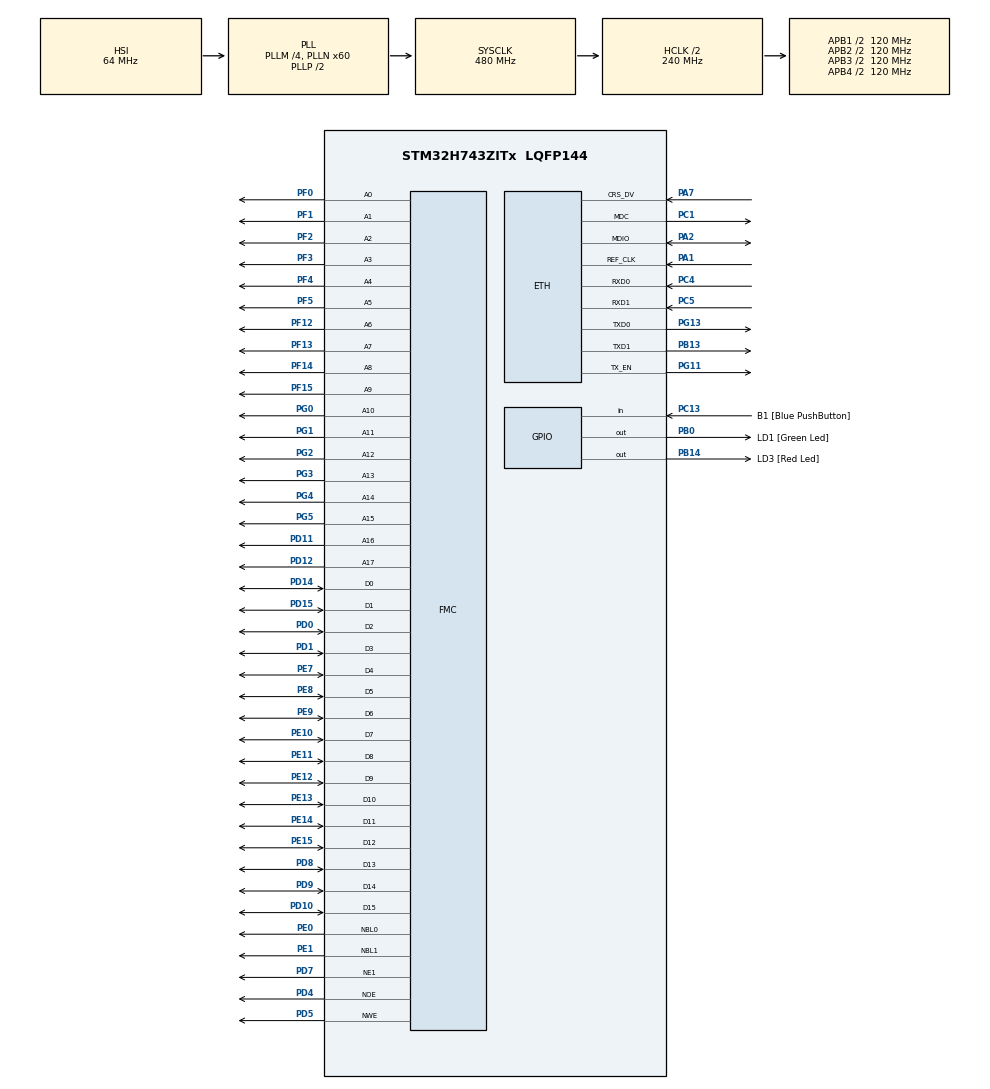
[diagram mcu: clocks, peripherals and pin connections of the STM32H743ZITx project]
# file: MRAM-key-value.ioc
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CORTEX_M7.CPU_DCache=Enabled
CORTEX_M7.CPU_ICache=Enabled
CORTEX_M7.Enable-Cortex_Memory_Protection_Unit_Region0_Settings=MPU_REGION_ENABLE
CORTEX_M7.Enable-Cortex_Memory_Protection_Unit_Region1_Settings=__NULL
CORTEX_M7.MPU_Control=__NULL
CORTEX_M7.Size-Cortex_Memory_Protection_Unit_Region0_Settings=MPU_REGION_SIZE_512KB
CRC.DefaultInitValueUse=DEFAULT_INIT_VALUE_DISABLE
CRC.DefaultPolynomialUse=DEFAULT_POLYNOMIAL_DISABLE
CRC.GeneratingPolynomial=X28+X27+X26+X25+X23+X22+X20+X19+X18+X14+X13+X11+X10+X9+X8+X6+X0
CRC.InitValue=0xffffffff
CRC.InputDataFormat=CRC_INPUTDATA_FORMAT_WORDS
CRC.InputDataInversionMode=CRC_INPUTDATA_INVERSION_NONE
CRC.OutputDataInversionMode=CRC_OUTPUTDATA_INVERSION_DISABLE
ETH.MediaInterface=HAL_ETH_RMII_MODE
FMC.AddressSetupTime1=1
FMC.BankMapConfig=FMC_SWAPBMAP_SDRAM_SRAM
FMC.BusTurnAroundDuration1=4
FMC.DataSetupTime1=10
FMC.ExtendedAddressSetupTime1=1
FMC.ExtendedBusTurnAroundDuration1=4
FMC.ExtendedDataSetupTime1=10
FMC.ExtendedMode1=FMC_EXTENDED_MODE_ENABLE
FMC.WriteFifo1=FMC_WRITE_FIFO_DISABLE
FMC.WriteFifo2=FMC_WRITE_FIFO_DISABLE
FMC.WriteFifo3=FMC_WRITE_FIFO_DISABLE
FMC.WriteFifo4=FMC_WRITE_FIFO_DISABLE
FMC.WriteOperation1=FMC_WRITE_OPERATION_ENABLE
Mcu.Family=STM32H7
Mcu.Name=STM32H743ZITx
Mcu.Package=LQFP144
Mcu.UserConstants=baseAddress,0xc0000000
NVIC.PriorityGroup=NVIC_PRIORITYGROUP_4
PA1.Mode=RMII
PA1.Signal=ETH_REF_CLK
PA13\ (JTMS/SWDIO).Mode=Trace_Asynchronous_SW
PA13\ (JTMS/SWDIO).Signal=DEBUG_JTMS-SWDIO
PA14\ (JTCK/SWCLK).Mode=Trace_Asynchronous_SW
PA14\ (JTCK/SWCLK).Signal=DEBUG_JTCK-SWCLK
PA2.Mode=RMII
PA2.Signal=ETH_MDIO
PA7.Mode=RMII
PA7.Signal=ETH_CRS_DV
PB0.GPIO_Label=LD1 [Green Led]
PB0.Signal=GPIO_Output
PB13.Mode=RMII
PB13.Signal=ETH_TXD1
PB14.GPIO_Label=LD3 [Red Led]
PB14.Signal=GPIO_Output
PB3\ (JTDO/TRACESWO).Mode=Trace_Asynchronous_SW
PB3\ (JTDO/TRACESWO).Signal=DEBUG_JTDO-SWO
PC1.Mode=RMII
PC1.Signal=ETH_MDC
PC13.GPIO_Label=B1 [Blue PushButton]
PC13.Signal=GPIO_Input
PC14-OSC32_IN\ (OSC32_IN).Mode=LSE-External-Oscillator
PC14-OSC32_IN\ (OSC32_IN).Signal=RCC_OSC32_IN
PC15-OSC32_OUT\ (OSC32_OUT).Mode=LSE-External-Oscillator
PC15-OSC32_OUT\ (OSC32_OUT).Signal=RCC_OSC32_OUT
PC4.Mode=RMII
PC4.Signal=ETH_RXD0
PC5.Mode=RMII
PC5.Signal=ETH_RXD1
PD0.Signal=FMC_D2_DA2
PD1.Signal=FMC_D3_DA3
PD10.Signal=FMC_D15_DA15
PD11.Signal=FMC_A16_CLE
PD12.Signal=FMC_A17_ALE
PD14.Signal=FMC_D0_DA0
PD15.Signal=FMC_D1_DA1
PD4.GPIO_PuPd=GPIO_PULLUP
PD4.Signal=FMC_NOE
PD5.GPIO_PuPd=GPIO_PULLUP
PD5.Signal=FMC_NWE
PD7.GPIO_PuPd=GPIO_PULLUP
PD7.Mode=NorPsramChipSelect1_1
PD7.Signal=FMC_NE1
PD8.Signal=FMC_D13_DA13
PD9.Signal=FMC_D14_DA14
PE0.Signal=FMC_NBL0
PE1.Signal=FMC_NBL1
PE10.Signal=FMC_D7_DA7
PE11.Signal=FMC_D8_DA8
PE12.Signal=FMC_D9_DA9
PE13.Signal=FMC_D10_DA10
PE14.Signal=FMC_D11_DA11
PE15.Signal=FMC_D12_DA12
PE7.Signal=FMC_D4_DA4
PE8.Signal=FMC_D5_DA5
PE9.Signal=FMC_D6_DA6
PF0.Signal=FMC_A0
PF1.Signal=FMC_A1
PF12.Signal=FMC_A6
PF13.Signal=FMC_A7
PF14.Signal=FMC_A8
PF15.Signal=FMC_A9
PF2.Signal=FMC_A2
PF3.Signal=FMC_A3
PF4.Signal=FMC_A4
PF5.Signal=FMC_A5
PG0.Signal=FMC_A10
PG1.Signal=FMC_A11
PG11.Mode=RMII
PG11.Signal=ETH_TX_EN
PG13.Mode=RMII
PG13.Signal=ETH_TXD0
PG2.Signal=FMC_A12
PG3.Signal=FMC_A13
PG4.Signal=FMC_A14_BA0
PG5.Signal=FMC_A15_BA1
PH0-OSC_IN\ (PH0).Mode=HSE-External-Clock-Source
PH0-OSC_IN\ (PH0).Signal=RCC_OSC_IN
PH1-OSC_OUT\ (PH1).Signal=RCC_OSC_OUT
ProjectManager.HeapSize=0x200
ProjectManager.StackSize=0x400
ProjectManager.TargetToolchain=STM32CubeIDE
RCC.ADCFreq_Value=129000000
RCC.APB1Freq_Value=120000000
RCC.APB2Freq_Value=120000000
RCC.APB3Freq_Value=120000000
RCC.APB4Freq_Value=120000000
RCC.CortexFreq_Value=480000000
RCC.D1PPRE=RCC_APB3_DIV2
RCC.D2PPRE1=RCC_APB1_DIV2
RCC.D2PPRE2=RCC_APB2_DIV2
RCC.D3PPRE=RCC_APB4_DIV2
RCC.DATA_CACHE_ENABLE=1
RCC.DIVM1=4
RCC.DIVN1=60
RCC.DIVQ1=4
RCC.HCLKFreq_Value=240000000
RCC.HPRE=RCC_HCLK_DIV2
RCC.HSE_VALUE=8000000
RCC.INSTRUCTION_CACHE_ENABLE=1
RCC.PLL2FRACN=0
RCC.PLL3FRACN=0
RCC.PLLFRACN=0
RCC.PREFETCH_ENABLE=1
RCC.PWREXT_OverDrive=PWREXT_OverDrive_DESACTIVATED
RCC.PWR_Regulator_Voltage_Scale=PWR_REGULATOR_VOLTAGE_SCALE0
RCC.SYSCLKFreq_VALUE=480000000
RCC.SYSCLKSource=RCC_SYSCLKSOURCE_PLLCLK
RCC.USBFreq_Value=240000000
SH.FMC_A0.0=FMC_A0,18b-a1
SH.FMC_A1.0=FMC_A1,18b-a1
SH.FMC_A10.0=FMC_A10,18b-a1
SH.FMC_A11.0=FMC_A11,18b-a1
SH.FMC_A12.0=FMC_A12,18b-a1
SH.FMC_A13.0=FMC_A13,18b-a1
SH.FMC_A14_BA0.0=FMC_A14,18b-a1
SH.FMC_A15_BA1.0=FMC_A15,18b-a1
SH.FMC_A16_CLE.0=FMC_A16,18b-a1
SH.FMC_A17_ALE.0=FMC_A17,18b-a1
SH.FMC_A2.0=FMC_A2,18b-a1
SH.FMC_A3.0=FMC_A3,18b-a1
SH.FMC_A4.0=FMC_A4,18b-a1
SH.FMC_A5.0=FMC_A5,18b-a1
SH.FMC_A6.0=FMC_A6,18b-a1
SH.FMC_A7.0=FMC_A7,18b-a1
SH.FMC_A8.0=FMC_A8,18b-a1
SH.FMC_A9.0=FMC_A9,18b-a1
SH.FMC_D0_DA0.0=FMC_D0,16b-d1
SH.FMC_D10_DA10.0=FMC_D10,16b-d1
SH.FMC_D11_DA11.0=FMC_D11,16b-d1
SH.FMC_D12_DA12.0=FMC_D12,16b-d1
SH.FMC_D13_DA13.0=FMC_D13,16b-d1
SH.FMC_D14_DA14.0=FMC_D14,16b-d1
SH.FMC_D15_DA15.0=FMC_D15,16b-d1
SH.FMC_D1_DA1.0=FMC_D1,16b-d1
SH.FMC_D2_DA2.0=FMC_D2,16b-d1
SH.FMC_D3_DA3.0=FMC_D3,16b-d1
SH.FMC_D4_DA4.0=FMC_D4,16b-d1
SH.FMC_D5_DA5.0=FMC_D5,16b-d1
SH.FMC_D6_DA6.0=FMC_D6,16b-d1
SH.FMC_D7_DA7.0=FMC_D7,16b-d1
SH.FMC_D8_DA8.0=FMC_D8,16b-d1
SH.FMC_D9_DA9.0=FMC_D9,16b-d1
SH.FMC_NBL0.0=FMC_NBL0,2ByteEnable1
SH.FMC_NBL1.0=FMC_NBL1,2ByteEnable1
SH.FMC_NOE.0=FMC_NOE,Sram1
SH.FMC_NWE.0=FMC_NWE,Sram1
VP_CRC_VS_CRC.Mode=CRC_Activate
board=NUCLEO-H743ZI2

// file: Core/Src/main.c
/* USER CODE BEGIN Header */
/**
  ******************************************************************************
  * @file           : main.c
  * @brief          : Main program body
  ******************************************************************************
  * @attention
  *
  * Copyright (c) 2022 STMicroelectronics.
  * All rights reserved.
  *
  * This software is licensed under terms that can be found in the LICENSE file
  * in the root directory of this software component.
  * If no LICENSE file comes with this software, it is provided AS-IS.
  *
  ******************************************************************************
  */
/* USER CODE END Header */
#include "main.h"
#include "string.h"

/* USER CODE BEGIN Includes */
#include "stm32h7xx_hal.h"
#include "stm32h743xx.h"
#include "stdio.h"
#include <math.h>
#include <MRAM_memory_consistency.h>
#include <stdlib.h>
#include <time.h>
#include "mram_commons.h"
#include "MRAM_driver.h"
#include "FLASH_SECTOR_H7.h"
#include "test_flash.h"
#include "test_embbeded_SRAM.h"
#include "test_MRAM.h"
#include "clht_lb.h"
#include "test_hashmap_numbers.h"
#include "benchmark_lpht.h"
#include "MRAM_driver.h"
#include "benchmark_clht.h"
#include "settings.h"
#include <malloc.h>
#include KEYS_FILE

/* USER CODE END Includes */

#if defined ( __ICCARM__ ) /*!< IAR Compiler */
#pragma location=0x30000000
ETH_DMADescTypeDef  DMARxDscrTab[ETH_RX_DESC_CNT]; /* Ethernet Rx DMA Descriptors */
#pragma location=0x30000200
ETH_DMADescTypeDef  DMATxDscrTab[ETH_TX_DESC_CNT]; /* Ethernet Tx DMA Descriptors */

#elif defined ( __CC_ARM )  /* MDK ARM Compiler */

__attribute__((at(0x30000000))) ETH_DMADescTypeDef  DMARxDscrTab[ETH_RX_DESC_CNT]; /* Ethernet Rx DMA Descriptors */
__attribute__((at(0x30000200))) ETH_DMADescTypeDef  DMATxDscrTab[ETH_TX_DESC_CNT]; /* Ethernet Tx DMA Descriptors */

#elif defined ( __GNUC__ ) /* GNU Compiler */
ETH_DMADescTypeDef DMARxDscrTab[ETH_RX_DESC_CNT] __attribute__((section(".RxDecripSection"))); /* Ethernet Rx DMA Descriptors */
ETH_DMADescTypeDef DMATxDscrTab[ETH_TX_DESC_CNT] __attribute__((section(".TxDecripSection")));   /* Ethernet Tx DMA Descriptors */

#endif

ETH_TxPacketConfig TxConfig;

CRC_HandleTypeDef hcrc;

ETH_HandleTypeDef heth;

SRAM_HandleTypeDef hsram1;

void SystemClock_Config(void);
static void MX_GPIO_Init(void);
static void MX_ETH_Init(void);
static void MX_FMC_Init(void);
static void MX_CRC_Init(void);

/* USER CODE BEGIN 0 */

typedef enum writeBitSize{
	BITS_8 = 8,
	BITS_16 = 16,
	BITS_32 = 32,
	BITS_64 = 64

} WriteBitSize;

int __io_putchar(int ch)
{
	ITM_SendChar(ch);
	return(ch);
}

int _write(int file, char *ptr, int len)
{
	int DataIdx;
	for (DataIdx = 0; DataIdx < len; DataIdx++)
	{
		__io_putchar(*ptr++);
	}
	return len;
}

void MPU_RegionConfig()
{
	MPU_Region_InitTypeDef MPU_InitStruct = {0};

	HAL_MPU_Disable();

	MPU_InitStruct.Enable = MPU_REGION_ENABLE;
	MPU_InitStruct.BaseAddress = MRAM_BANK_ADDR;
	MPU_InitStruct.Size = MPU_REGION_SIZE_4MB;
	MPU_InitStruct.AccessPermission = MPU_REGION_FULL_ACCESS;
	MPU_InitStruct.IsBufferable = MPU_ACCESS_NOT_BUFFERABLE;
	MPU_InitStruct.IsCacheable = MPU_ACCESS_CACHEABLE;
	MPU_InitStruct.IsShareable = MPU_ACCESS_SHAREABLE;
	MPU_InitStruct.Number = MPU_REGION_NUMBER0;
	MPU_InitStruct.TypeExtField = MPU_TEX_LEVEL0;
	MPU_InitStruct.SubRegionDisable = 0x00;
	MPU_InitStruct.DisableExec = MPU_INSTRUCTION_ACCESS_DISABLE;
	HAL_MPU_ConfigRegion(&MPU_InitStruct);
	HAL_MPU_Enable(MPU_PRIVILEGED_DEFAULT);
}

void test_flash(){
	uint32_t total_write_size[12] = {8192U, 131072U};//, 64, 128, 256, 416, 256U, 512U, 1024U, 2048U, 4096U,}; //In bits
		int nrAvgIterations = 50;
		long double avg_throughput = 0;
		WriteBitSize writeChunkSize = BITS_32; //In bits, 8, 16, 32, or 64

		for(int i = 0; i < 2; i++){
			if(total_write_size[i] >= writeChunkSize){
				//avg_throughput = test_write_throughput_MRAM(writeChunkSize, total_write_size[i], nrAvgIterations);
				avg_throughput = test_flash_write_throughput(writeChunkSize, total_write_size[i], nrAvgIterations);
				printf("Avg Flash throughput for writing %ld bits in %d-bit chunk sizes, averaged over %d iterations: %.3Lf KB/s\n",total_write_size[i],writeChunkSize, nrAvgIterations, avg_throughput);
				puts("");
			}
	}
}

void test_MRAM_throughput( uint8_t read, uint8_t write){
	uint32_t operation_size[6] = {2U,4U,8U,512U,4096U,32768U};//, 64, 128, 256, 416, 256U, 512U, 1024U, 2048U, 4096U,}; //In bits
	int nrAvgIterations;
	long double avg_throughput = 0;
	WriteBitSize chunkSize = BITS_16; //In bits, 8, 16, 32, or 64. Always tries to use biggest possible
	uint32_t totalBytes = 536870912; ///500MiB per test

	for(int i = 0; i < 6; i++){

		if(operation_size[i] < 2U){
			chunkSize = BITS_8;
		} else if(operation_size[i] < 4U){
			chunkSize = BITS_16;
		} else if(operation_size[i] < 8U){
			chunkSize = BITS_32;
		}

		nrAvgIterations = totalBytes / operation_size[i]; //Division surplus is ignored, may write slightly less than 500MiB. Average throughput calculation is not affected.
		if(write){
			avg_throughput = test_write_throughput_MRAM(chunkSize, operation_size[i], nrAvgIterations, 0);
			//avg_throughput = test_flash_write_throughput(writeChunkSize, total_write_size[i], nrAvgIterations);
			printf("Access type: Sequential; Write operation size: %ld; Bytes written: %ld; Avg throughput: %.3Lf KB/s\n", operation_size[i], nrAvgIterations * operation_size[i], avg_throughput);
			puts("");

			avg_throughput = test_write_throughput_MRAM(chunkSize, operation_size[i], nrAvgIterations, 1);
			//avg_throughput = test_flash_write_throughput(writeChunkSize, total_write_size[i], nrAvgIterations);
			printf("Access type: Random; Write operation size: %ld; Bytes written: %ld; Avg throughput: %.3Lf KB/s\n", operation_size[i], nrAvgIterations * operation_size[i], avg_throughput);
			puts("");
		}

		if (read){
			avg_throughput = test_read_throughput_MRAM(chunkSize, operation_size[i], nrAvgIterations, 0);
			//avg_throughput = test_flash_write_throughput(writeChunkSize, total_write_size[i], nrAvgIterations);
			printf("Access type: Sequential; Read operation size: %ld; Bytes read: %ld; Avg throughput: %.3Lf KB/s\n", operation_size[i], nrAvgIterations * operation_size[i], avg_throughput);
			puts("");

			avg_throughput = test_read_throughput_MRAM(chunkSize, operation_size[i], nrAvgIterations, 1);
			//avg_throughput = test_flash_write_throughput(writeChunkSize, total_write_size[i], nrAvgIterations);
			printf("Access type: Random; Read operation size: %ld; Bytes read: %ld; Avg throughput: %.3Lf KB/s\n", operation_size[i], nrAvgIterations * operation_size[i], avg_throughput);
			puts("");
		}

	}
}

void test_MRAM_reads(){
	uint32_t total_read_size[12] = {512U};//, 64, 128, 256, 416, 256U, 512U, 1024U, 2048U, 4096U,}; //In bits
	int nrAvgIterations = 10000000;
	long double avg_throughput = 0;
	WriteBitSize readChunkSize = BITS_64; //In bits, 8, 16, 32, or 64
	uint8_t type = 0; //0 = sequential access; 1 = random access;

	for(int i = 0; i < 1; i++){
		if(total_read_size[i] >= readChunkSize){
			avg_throughput = test_read_throughput_MRAM(readChunkSize, total_read_size[i], nrAvgIterations, type);
			printf("Avg Flash throughput for reading %ld bits in %d-bit chunk sizes, averaged over %d iterations: %.3Lf KB/s\n",total_read_size[i],readChunkSize, nrAvgIterations, avg_throughput);
			puts("");
		}
	}
}

void test_MRAM_memcpy(){
	uint32_t numBytesToWrite = MRAM_NR_BYTES - 16;
	uint32_t block_size[] = {2,4,8,512, 4096, 32768};
	int numIterations = 5;

	for(int i = 0; i < 6; i++){
		test_write_throughput_MRAM_memcpy_string(block_size[i], numBytesToWrite, numIterations);
	}
}

void test_memories_throughput(){

	//test_MRAM_memcpy();
	test_MRAM_throughput(1,1);

	//printf("Avg SRAM throughput for 64 bits: %.3lf B/s\n",avg_throughput[3]);
	//printf("Avg SRAM throughput for 128 bits: %.3lf B/s\n",avg_throughput[4]);
	//printf("Avg SRAM throughput for 256 bits: %.3lf B/s\n",avg_throughput[5]);
	//printf("Avg SRAM throughput for 416 bits: %.3lf B/s\n",avg_throughput[6]);
	//printf("Avg SRAM throughput for 1024 bits: %.3lf B/s\n",avg_throughput[7]);
	//printf("Avg SRAM throughput for 2048 bits: %.3lf B/s\n",avg_throughput[8]);

}

void test_clht(){
	uint32_t startTime = 0, elapsedTime = 0;
	uint8_t test[] = {49,50,51,52};
	uint32_t uwCRCValue = HAL_CRC_Calculate(&hcrc,(uint32_t *) test, 4);
	printf("CRC32 value: %lu\n", uwCRCValue);

	uint64_t key = 10;
	uint64_t value = 20, get_value = 5;

	clht_t *hash =  clht_create(10);
	clht_put(hash, (clht_addr_t) key, (clht_val_t) value);
	//value = 1337;
	startTime = HAL_GetTick();
	for(int i = 0; i < 1000000; i++){
		clht_put(hash, (clht_addr_t) key, (clht_val_t) value);
	}
	elapsedTime = HAL_GetTick() - startTime;
	get_value = clht_get(hash->ht, (clht_addr_t) key);
	printf("Value obtained from hashtable: %llu\n", get_value);
	printf("Elapsed time: %lu ms\n", elapsedTime);
}

void _malloc_occupy_32byte(uint8_t * memoryMap, uint32_t startAddress, uint32_t refAddress){
	uint32_t index = (startAddress - refAddress) / 32;
	uint8_t aligned = !((startAddress - refAddress) % 32);

	if((memoryMap[index] == '-') && aligned){
		memoryMap[index] = '*'; // '*' character
	} else if ((memoryMap[index] == '-') &&  !aligned){
		memoryMap[index] = '/'; // '/' bucket targets this address, but unaligned, should not happen
	} else {
		memoryMap[index] = 'X';// 'X' -> Targeted by more than one bucket, should not happen
	}

}

void print_malloc_map(){
	uint8_t memoryMap[100];

	void * pointerArray[100];

	for(int i = 0; i < 100; i++){
		pointerArray[i] = memalign(32, 32);
	}

	for(int i = 0; i < 100; i++){
		memoryMap[i] = '-';
	}

	for(int i = 0; i < 100; i++){
		printf("%lx\n", (uint32_t)pointerArray[i]);
		_malloc_occupy_32byte(memoryMap, (uint32_t) pointerArray[i], (uint32_t)pointerArray[0]);
	}

	for(int i = 0; i < 100; i++){
		printf("%c", memoryMap[i]);
		if((i != 0) && (i % 100 == 0)){
			printf("\n");
			HAL_Delay(500);
		}

	}
	printf("\n");

}

/* USER CODE END 0 */

int main(void)
{
  /* USER CODE BEGIN 1 */
	//From errata sheet, to avoid read inconsistencies from AXI SRAM

  //Note: May not be needed.
  MPU_RegionConfig();
  /* USER CODE END 1 */

  /* Enable I-Cache---------------------------------------------------------*/
  SCB_EnableICache();

  /* Enable D-Cache---------------------------------------------------------*/
  SCB_EnableDCache();

  /* MCU Configuration--------------------------------------------------------*/

  /* Reset of all peripherals, Initializes the Flash interface and the Systick. */
  HAL_Init();

  /* USER CODE BEGIN Init */

  //addr = SRAM_BANK_ADDR + 2;
  /* USER CODE END Init */

  /* Configure the system clock */
  SystemClock_Config();

  /* Initialize all configured peripherals */
  MX_GPIO_Init();
  MX_ETH_Init();
  MX_FMC_Init();
  MX_CRC_Init();

  /* Infinite loop */
  /* USER CODE BEGIN WHILE */

  //======
  // MPU binary: XN = 1
  //	  	  	 AP = 011
  //			 TEX = 000 C = 0 B = 0 Shareable = 1
  //			 SRD = 0
  //  	  	  	 SIZE =

  //Fix from errata sheet
  uint32_t address = GPV_BASE + 0x8108;
  address = address | 0x01;

  HAL_Delay(1000);
  //int randSeeds[5] = {129879, 98019823, 1239889, 12980, 928308};

  srand(237);
  while (1)
  {

    /* USER CODE END WHILE */

    /* USER CODE BEGIN 3 */
	printf("Program starting... \n");
	printf("Keys pointer: %p\n", keys);
	printf("First string pointer: %p\n", keys[0]);
    printf("First string: %s\n", keys[0]);
	//printf("Wiping MRAM\n");

	//mram_wipe();
	HAL_Delay(1000);
	//NVIC_SystemReset();
	//test_memory_consistency(16);
	//test_memory_consistency_random(32);
	//test_memories_throughput();

	//key_value_store_test_string();
	 //Iterate over seed list

	//print_malloc_map();
	//benchmark_clht_throughput();
	//test_clht();
	benchmark_lpht_throughput();

	HAL_Delay(30*1000);
	NVIC_SystemReset();
  }

  /* USER CODE END 3 */
}

void SystemClock_Config(void)
{
  RCC_OscInitTypeDef RCC_OscInitStruct = {0};
  RCC_ClkInitTypeDef RCC_ClkInitStruct = {0};

  /** Supply configuration update enable
  */
  HAL_PWREx_ConfigSupply(PWR_LDO_SUPPLY);

  /** Configure the main internal regulator output voltage
  */
  __HAL_PWR_VOLTAGESCALING_CONFIG(PWR_REGULATOR_VOLTAGE_SCALE1);

  while(!__HAL_PWR_GET_FLAG(PWR_FLAG_VOSRDY)) {}

  __HAL_RCC_SYSCFG_CLK_ENABLE();
  __HAL_PWR_VOLTAGESCALING_CONFIG(PWR_REGULATOR_VOLTAGE_SCALE0);

  while(!__HAL_PWR_GET_FLAG(PWR_FLAG_VOSRDY)) {}

  /** Initializes the RCC Oscillators according to the specified parameters
  * in the RCC_OscInitTypeDef structure.
  */
  RCC_OscInitStruct.OscillatorType = RCC_OSCILLATORTYPE_HSI;
  RCC_OscInitStruct.HSIState = RCC_HSI_DIV1;
  RCC_OscInitStruct.HSICalibrationValue = RCC_HSICALIBRATION_DEFAULT;
  RCC_OscInitStruct.PLL.PLLState = RCC_PLL_ON;
  RCC_OscInitStruct.PLL.PLLSource = RCC_PLLSOURCE_HSI;
  RCC_OscInitStruct.PLL.PLLM = 4;
  RCC_OscInitStruct.PLL.PLLN = 60;
  RCC_OscInitStruct.PLL.PLLP = 2;
  RCC_OscInitStruct.PLL.PLLQ = 4;
  RCC_OscInitStruct.PLL.PLLR = 2;
  RCC_OscInitStruct.PLL.PLLRGE = RCC_PLL1VCIRANGE_3;
  RCC_OscInitStruct.PLL.PLLVCOSEL = RCC_PLL1VCOWIDE;
  RCC_OscInitStruct.PLL.PLLFRACN = 0;
  if (HAL_RCC_OscConfig(&RCC_OscInitStruct) != HAL_OK)
  {
    Error_Handler();
  }

  /** Initializes the CPU, AHB and APB buses clocks
  */
  RCC_ClkInitStruct.ClockType = RCC_CLOCKTYPE_HCLK|RCC_CLOCKTYPE_SYSCLK
                              |RCC_CLOCKTYPE_PCLK1|RCC_CLOCKTYPE_PCLK2
                              |RCC_CLOCKTYPE_D3PCLK1|RCC_CLOCKTYPE_D1PCLK1;
  RCC_ClkInitStruct.SYSCLKSource = RCC_SYSCLKSOURCE_PLLCLK;
  RCC_ClkInitStruct.SYSCLKDivider = RCC_SYSCLK_DIV1;
  RCC_ClkInitStruct.AHBCLKDivider = RCC_HCLK_DIV2;
  RCC_ClkInitStruct.APB3CLKDivider = RCC_APB3_DIV2;
  RCC_ClkInitStruct.APB1CLKDivider = RCC_APB1_DIV2;
  RCC_ClkInitStruct.APB2CLKDivider = RCC_APB2_DIV2;
  RCC_ClkInitStruct.APB4CLKDivider = RCC_APB4_DIV2;

  if (HAL_RCC_ClockConfig(&RCC_ClkInitStruct, FLASH_LATENCY_4) != HAL_OK)
  {
    Error_Handler();
  }
}

static void MX_CRC_Init(void)
{

  hcrc.Instance = CRC;
  hcrc.Init.DefaultPolynomialUse = DEFAULT_POLYNOMIAL_DISABLE;
  hcrc.Init.DefaultInitValueUse = DEFAULT_INIT_VALUE_DISABLE;
  hcrc.Init.GeneratingPolynomial = 517762881;
  hcrc.Init.CRCLength = CRC_POLYLENGTH_32B;
  hcrc.Init.InitValue = 0xffffffff;
  hcrc.Init.InputDataInversionMode = CRC_INPUTDATA_INVERSION_NONE;
  hcrc.Init.OutputDataInversionMode = CRC_OUTPUTDATA_INVERSION_DISABLE;
  hcrc.InputDataFormat = CRC_INPUTDATA_FORMAT_WORDS;
  if (HAL_CRC_Init(&hcrc) != HAL_OK)
  {
    Error_Handler();
  }

}

static void MX_ETH_Init(void)
{

   static uint8_t MACAddr[6];

  heth.Instance = ETH;
  MACAddr[0] = 0x00;
  MACAddr[1] = 0x80;
  MACAddr[2] = 0xE1;
  MACAddr[3] = 0x00;
  MACAddr[4] = 0x00;
  MACAddr[5] = 0x00;
  heth.Init.MACAddr = &MACAddr[0];
  heth.Init.MediaInterface = HAL_ETH_RMII_MODE;
  heth.Init.TxDesc = DMATxDscrTab;
  heth.Init.RxDesc = DMARxDscrTab;
  heth.Init.RxBuffLen = 1524;

  if (HAL_ETH_Init(&heth) != HAL_OK)
  {
    Error_Handler();
  }

  memset(&TxConfig, 0 , sizeof(ETH_TxPacketConfig));
  TxConfig.Attributes = ETH_TX_PACKETS_FEATURES_CSUM | ETH_TX_PACKETS_FEATURES_CRCPAD;
  TxConfig.ChecksumCtrl = ETH_CHECKSUM_IPHDR_PAYLOAD_INSERT_PHDR_CALC;
  TxConfig.CRCPadCtrl = ETH_CRC_PAD_INSERT;

}

/* FMC initialization function */
static void MX_FMC_Init(void)
{

  FMC_NORSRAM_TimingTypeDef Timing = {0};
  FMC_NORSRAM_TimingTypeDef ExtTiming = {0};

  /** Perform the SRAM1 memory initialization sequence
  */
  hsram1.Instance = FMC_NORSRAM_DEVICE;
  hsram1.Extended = FMC_NORSRAM_EXTENDED_DEVICE;
  /* hsram1.Init */
  hsram1.Init.NSBank = FMC_NORSRAM_BANK1;
  hsram1.Init.DataAddressMux = FMC_DATA_ADDRESS_MUX_DISABLE;
  hsram1.Init.MemoryType = FMC_MEMORY_TYPE_SRAM;
  hsram1.Init.MemoryDataWidth = FMC_NORSRAM_MEM_BUS_WIDTH_16;
  hsram1.Init.BurstAccessMode = FMC_BURST_ACCESS_MODE_DISABLE;
  hsram1.Init.WaitSignalPolarity = FMC_WAIT_SIGNAL_POLARITY_LOW;
  hsram1.Init.WaitSignalActive = FMC_WAIT_TIMING_BEFORE_WS;
  hsram1.Init.WriteOperation = FMC_WRITE_OPERATION_ENABLE;
  hsram1.Init.WaitSignal = FMC_WAIT_SIGNAL_DISABLE;
  hsram1.Init.ExtendedMode = FMC_EXTENDED_MODE_ENABLE;
  hsram1.Init.AsynchronousWait = FMC_ASYNCHRONOUS_WAIT_DISABLE;
  hsram1.Init.WriteBurst = FMC_WRITE_BURST_DISABLE;
  hsram1.Init.ContinuousClock = FMC_CONTINUOUS_CLOCK_SYNC_ONLY;
  hsram1.Init.WriteFifo = FMC_WRITE_FIFO_DISABLE;
  hsram1.Init.PageSize = FMC_PAGE_SIZE_NONE;
  /* Timing */
  Timing.AddressSetupTime = 1;
  Timing.AddressHoldTime = 15;
  Timing.DataSetupTime = 10;
  Timing.BusTurnAroundDuration = 4;
  Timing.CLKDivision = 16;
  Timing.DataLatency = 17;
  Timing.AccessMode = FMC_ACCESS_MODE_A;
  /* ExtTiming */
  ExtTiming.AddressSetupTime = 1;
  ExtTiming.AddressHoldTime = 15;
  ExtTiming.DataSetupTime = 10;
  ExtTiming.BusTurnAroundDuration = 4;
  ExtTiming.CLKDivision = 16;
  ExtTiming.DataLatency = 17;
  ExtTiming.AccessMode = FMC_ACCESS_MODE_A;

  if (HAL_SRAM_Init(&hsram1, &Timing, &ExtTiming) != HAL_OK)
  {
    Error_Handler( );
  }

  HAL_SetFMCMemorySwappingConfig(FMC_SWAPBMAP_SDRAM_SRAM);

}

static void MX_GPIO_Init(void)
{
  GPIO_InitTypeDef GPIO_InitStruct = {0};

  /* GPIO Ports Clock Enable */
  __HAL_RCC_GPIOC_CLK_ENABLE();
  __HAL_RCC_GPIOF_CLK_ENABLE();
  __HAL_RCC_GPIOH_CLK_ENABLE();
  __HAL_RCC_GPIOA_CLK_ENABLE();
  __HAL_RCC_GPIOB_CLK_ENABLE();
  __HAL_RCC_GPIOG_CLK_ENABLE();
  __HAL_RCC_GPIOE_CLK_ENABLE();
  __HAL_RCC_GPIOD_CLK_ENABLE();

  /*Configure GPIO pin Output Level */
  HAL_GPIO_WritePin(GPIOB, LD1_Pin|LD3_Pin, GPIO_PIN_RESET);

  /*Configure GPIO pin : B1_Pin */
  GPIO_InitStruct.Pin = B1_Pin;
  GPIO_InitStruct.Mode = GPIO_MODE_INPUT;
  GPIO_InitStruct.Pull = GPIO_NOPULL;
  HAL_GPIO_Init(B1_GPIO_Port, &GPIO_InitStruct);

  /*Configure GPIO pins : LD1_Pin LD3_Pin */
  GPIO_InitStruct.Pin = LD1_Pin|LD3_Pin;
  GPIO_InitStruct.Mode = GPIO_MODE_OUTPUT_PP;
  GPIO_InitStruct.Pull = GPIO_NOPULL;
  GPIO_InitStruct.Speed = GPIO_SPEED_FREQ_LOW;
  HAL_GPIO_Init(GPIOB, &GPIO_InitStruct);

}

void Error_Handler(void)
{
  __disable_irq();
  while (1)
  {
  }
}
